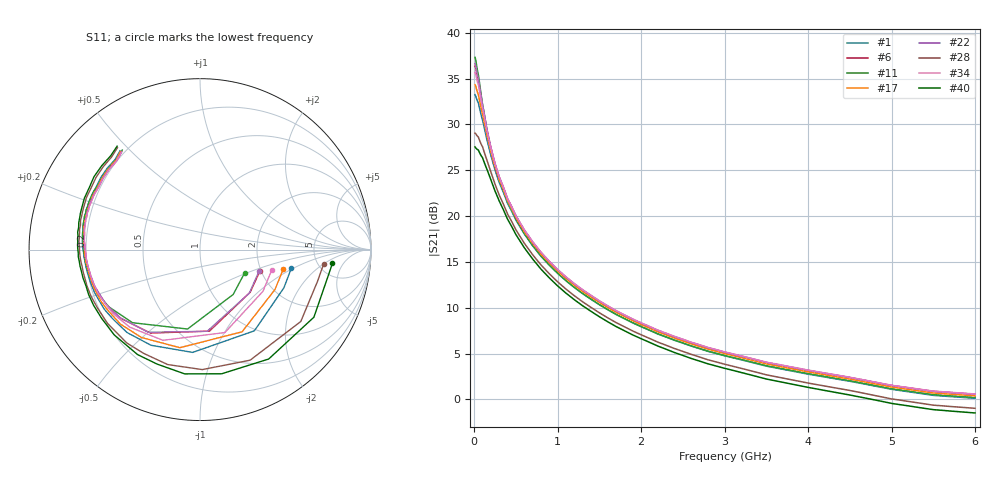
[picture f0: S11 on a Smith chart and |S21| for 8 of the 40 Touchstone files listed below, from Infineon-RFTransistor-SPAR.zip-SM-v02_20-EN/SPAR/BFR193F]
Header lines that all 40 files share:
! Infineon Technologies  Discrete & RF Semiconductors
! BFR193F
! Common Emitter S-Parameters:  Jan 2017
# GHz  S  MA  R  50
!  f  S11  S21  S12  S22
! GHz  MAG  ANG  MAG  ANG  MAG  ANG  MAG  ANG
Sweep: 10 MHz to 6 GHz
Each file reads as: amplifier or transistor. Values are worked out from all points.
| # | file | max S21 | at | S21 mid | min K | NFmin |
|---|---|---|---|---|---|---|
| 1 | BFR193F_w_noise_VCE_9.0V_IC_20mA.s2p | 33.3 dB | 10 MHz | 7.1 dB at 2.2 GHz | 0.07 | 1.04 dB |
| 2 | BFR193F_w_noise_VCE_9.0V_IC_25mA.s2p | 34.4 dB | 10 MHz | 7.3 dB at 2.2 GHz | 0.08 | 1.11 dB |
| 3 | BFR193F_w_noise_VCE_9.0V_IC_30mA.s2p | 35.2 dB | 10 MHz | 7.4 dB at 2.2 GHz | 0.13 | 1.18 dB |
| 4 | BFR193F_w_noise_VCE_9.0V_IC_32mA.s2p | 35.5 dB | 10 MHz | 7.5 dB at 2.2 GHz | 0.14 | 1.21 dB |
| 5 | BFR193F_w_noise_VCE_9.0V_IC_35mA.s2p | 35.9 dB | 10 MHz | 7.5 dB at 2.2 GHz | 0.15 | 1.26 dB |
| 6 | BFR193F_w_noise_VCE_9.0V_IC_40mA.s2p | 36.4 dB | 10 MHz | 7.5 dB at 2.2 GHz | 0.17 | 1.34 dB |
| 7 | BFR193F_w_noise_VCE_9.0V_IC_45mA.s2p | 36.8 dB | 10 MHz | 7.5 dB at 2.2 GHz | 0.18 | 1.41 dB |
| 8 | BFR193F_w_noise_VCE_9.0V_IC_48mA.s2p | 37.0 dB | 10 MHz | 7.5 dB at 2.2 GHz | 0.17 | 1.45 dB |
| 9 | BFR193F_w_noise_VCE_9.0V_IC_50mA.s2p | 37.1 dB | 10 MHz | 7.5 dB at 2.2 GHz | 0.19 | 1.48 dB |
| 10 | BFR193F_w_noise_VCE_9.0V_IC_55mA.s2p | 37.3 dB | 10 MHz | 7.4 dB at 2.2 GHz | 0.21 | 1.56 dB |
| 11 | BFR193F_w_noise_VCE_9.0V_IC_60mA.s2p | 37.3 dB | 10 MHz | 7.2 dB at 2.2 GHz | 0.21 | 1.64 dB |
| 12 | BFR193F_w_noise_VCE_10.V_IC_5.0mA.s2p | 24.1 dB | 10 MHz | 4.5 dB at 2.2 GHz | 0.01 | 0.81 dB |
| 13 | BFR193F_w_noise_VCE_10.V_IC_8.0mA.s2p | 27.6 dB | 10 MHz | 5.8 dB at 2.2 GHz | 0.04 | 0.84 dB |
| 14 | BFR193F_w_noise_VCE_10.V_IC_10mA.s2p | 29.1 dB | 10 MHz | 6.2 dB at 2.2 GHz | 0.06 | 0.87 dB |
| 15 | BFR193F_w_noise_VCE_10.V_IC_16mA.s2p | 32.0 dB | 10 MHz | 6.9 dB at 2.2 GHz | 0.09 | 0.97 dB |
| 16 | BFR193F_w_noise_VCE_10.V_IC_20mA.s2p | 33.2 dB | 10 MHz | 7.2 dB at 2.2 GHz | 0.08 | 1.04 dB |
| 17 | BFR193F_w_noise_VCE_10.V_IC_25mA.s2p | 34.3 dB | 10 MHz | 7.4 dB at 2.2 GHz | 0.13 | 1.11 dB |
| 18 | BFR193F_w_noise_VCE_10.V_IC_30mA.s2p | 35.1 dB | 10 MHz | 7.5 dB at 2.2 GHz | 0.14 | 1.18 dB |
| 19 | BFR193F_w_noise_VCE_10.V_IC_32mA.s2p | 35.4 dB | 10 MHz | 7.5 dB at 2.2 GHz | 0.12 | 1.21 dB |
| 20 | BFR193F_w_noise_VCE_10.V_IC_35mA.s2p | 35.8 dB | 10 MHz | 7.5 dB at 2.2 GHz | 0.16 | 1.26 dB |
| 21 | BFR193F_w_noise_VCE_10.V_IC_40mA.s2p | 36.3 dB | 10 MHz | 7.6 dB at 2.2 GHz | 0.16 | 1.34 dB |
| 22 | BFR193F_w_noise_VCE_10.V_IC_45mA.s2p | 36.6 dB | 10 MHz | 7.5 dB at 2.2 GHz | 0.16 | 1.41 dB |
| 23 | BFR193F_w_noise_VCE_10.V_IC_48mA.s2p | 36.8 dB | 10 MHz | 7.5 dB at 2.2 GHz | 0.21 | 1.45 dB |
| 24 | BFR193F_w_noise_VCE_10.V_IC_50mA.s2p | 36.9 dB | 10 MHz | 7.5 dB at 2.2 GHz | 0.18 | 1.48 dB |
| 25 | BFR193F_w_noise_VCE_10.V_IC_55mA.s2p | 36.9 dB | 10 MHz | 7.2 dB at 2.2 GHz | 0.22 | 1.56 dB |
| 26 | BFR193F_w_noise_VCE_11.V_IC_5.0mA.s2p | 24.1 dB | 10 MHz | 4.5 dB at 2.2 GHz | 0.03 | 0.81 dB |
| 27 | BFR193F_w_noise_VCE_11.V_IC_8.0mA.s2p | 27.6 dB | 10 MHz | 5.8 dB at 2.2 GHz | 0.05 | 0.84 dB |
| 28 | BFR193F_w_noise_VCE_11.V_IC_10mA.s2p | 29.1 dB | 10 MHz | 6.3 dB at 2.2 GHz | 0.03 | 0.87 dB |
| 29 | BFR193F_w_noise_VCE_11.V_IC_16mA.s2p | 31.9 dB | 10 MHz | 7.0 dB at 2.2 GHz | 0.06 | 0.97 dB |
| 30 | BFR193F_w_noise_VCE_11.V_IC_20mA.s2p | 33.1 dB | 10 MHz | 7.2 dB at 2.2 GHz | 0.13 | 1.04 dB |
| 31 | BFR193F_w_noise_VCE_11.V_IC_25mA.s2p | 34.3 dB | 10 MHz | 7.4 dB at 2.2 GHz | 0.12 | 1.11 dB |
| 32 | BFR193F_w_noise_VCE_11.V_IC_30mA.s2p | 35.1 dB | 10 MHz | 7.5 dB at 2.2 GHz | 0.14 | 1.18 dB |
| 33 | BFR193F_w_noise_VCE_11.V_IC_32mA.s2p | 35.3 dB | 10 MHz | 7.5 dB at 2.2 GHz | 0.16 | 1.21 dB |
| 34 | BFR193F_w_noise_VCE_11.V_IC_35mA.s2p | 35.7 dB | 10 MHz | 7.6 dB at 2.2 GHz | 0.18 | 1.26 dB |
| 35 | BFR193F_w_noise_VCE_11.V_IC_40mA.s2p | 36.2 dB | 10 MHz | 7.6 dB at 2.2 GHz | 0.20 | 1.34 dB |
| 36 | BFR193F_w_noise_VCE_11.V_IC_45mA.s2p | 36.4 dB | 10 MHz | 7.5 dB at 2.2 GHz | 0.20 | 1.41 dB |
| 37 | BFR193F_w_noise_VCE_11.V_IC_48mA.s2p | 36.5 dB | 10 MHz | 7.4 dB at 2.2 GHz | 0.20 | 1.45 dB |
| 38 | BFR193F_w_noise_VCE_11.V_IC_50mA.s2p | 36.5 dB | 10 MHz | 7.3 dB at 2.2 GHz | 0.21 | 1.48 dB |
| 39 | BFR193F_w_noise_VCE_12.V_IC_5.0mA.s2p | 24.1 dB | 10 MHz | 4.6 dB at 2.2 GHz | 0.01 | 0.81 dB |
| 40 | BFR193F_w_noise_VCE_12.V_IC_8.0mA.s2p | 27.6 dB | 10 MHz | 5.8 dB at 2.2 GHz | 0.07 | 0.84 dB |

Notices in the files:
Hoja de datos/BFP 450/Infineon-RFTransistor-SPAR.zip-SM-v02_20-EN/SPAR/BFR193F/BFR193F_w_noise_VCE_10.V_IC_10mA.s2p:
(c) 2017  Infineon Technologies AG, Munich
